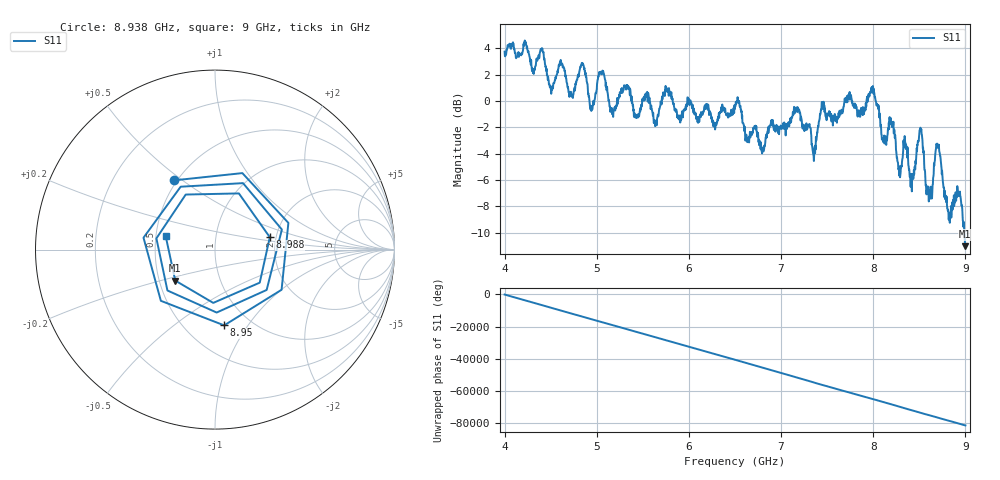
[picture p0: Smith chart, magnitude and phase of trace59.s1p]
! Created with skrf 1.8.0 (http://scikit-rf.org).
# Hz S RI R 50.0
!freq ReS11 ImS11
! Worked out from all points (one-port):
!   1601 points, 4 GHz to 9 GHz, reference 50 ohm
!   lowest |S11| = -11.0 dB at 8.997 GHz (marker M1), VSWR 1.78, Z = 30.3 - j11.3 ohm
!   |S11| at or under -10 dB: 8.987518 GHz to end of sweep
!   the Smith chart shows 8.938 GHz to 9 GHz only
!   S11 on the Smith chart (normalised r, x): 8.938 GHz: 0.48, +0.47; 8.95 GHz: 0.76, -0.78; 8.988 GHz: 1.85, +0.28; 9 GHz: 0.56, +0.09
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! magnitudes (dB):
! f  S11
! 4 GHz  3.7
! 4.625 GHz  2.8
! 4.722 GHz  0.6
! 4.853 GHz  2.7
! 4.947 GHz  -0.5
! 5.047 GHz  2.1
! 5.162 GHz  -0.5
! 5.25 GHz  0.7
! 5.875 GHz  -1.1
! 6.5 GHz  -0.3
! 6.8 GHz  -3.7
! 7.125 GHz  -1.1
! 7.356 GHz  -4.6
! 7.444 GHz  -0.1
! 7.75 GHz  0.4
! 7.994 GHz  0.7
! 8.112 GHz  -3.1
! 8.375 GHz  -3.9
! 8.428 GHz  -5.5
! 8.509 GHz  -2.1
! 8.6 GHz  -7.2
! 8.7 GHz  -3.6
! 8.825 GHz  -8.5
! 8.938 GHz  -7.0
! 8.95 GHz  -7.4
! 8.988 GHz  -10.1
! 8.997 GHz  -11.0
! 9 GHz  -10.9
